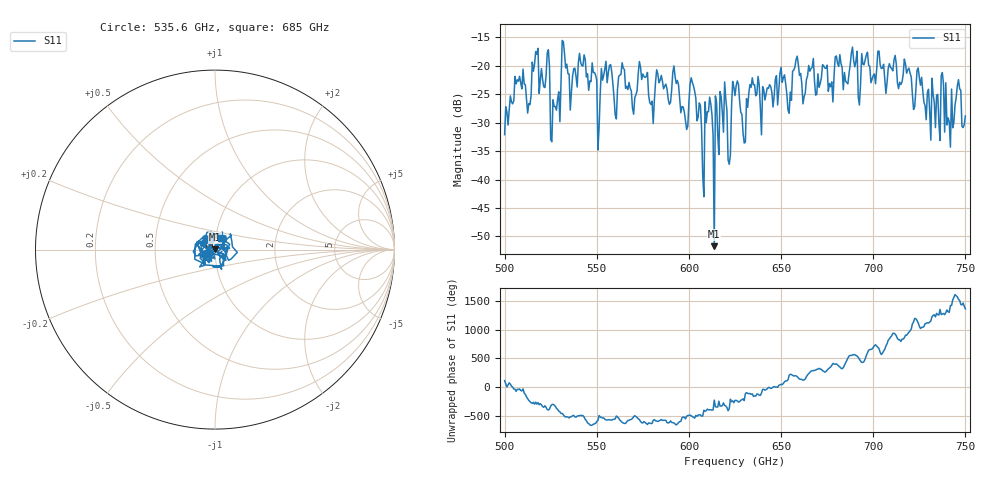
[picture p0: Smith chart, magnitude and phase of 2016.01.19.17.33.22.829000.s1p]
!Created with skrf (http://scikit-rf.org).
# GHz S RI R 50.0
!freq ReS11 ImS11
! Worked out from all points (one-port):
!   401 points, 500 GHz to 750 GHz, reference 50 ohm
!   lowest |S11| = -51.7 dB at 613.8 GHz (marker M1), VSWR 1.01, Z = 49.8 + j0.171 ohm
!   |S11| at or under -10 dB: start of sweep to end of sweep
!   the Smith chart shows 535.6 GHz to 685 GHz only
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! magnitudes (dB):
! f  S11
! 500 GHz  -32.1
! 506.9 GHz  -22.5
! 513.1 GHz  -26.7
! 516.9 GHz  -17.5
! 523.1 GHz  -17.8
! 526.2 GHz  -26.0
! 531.2 GHz  -15.6
! 548.8 GHz  -21.2
! 550.6 GHz  -34.8
! 553.8 GHz  -21.7
! 560 GHz  -28.6
! 562.5 GHz  -21.6
! 570.6 GHz  -25.6
! 574.4 GHz  -22.4
! 580 GHz  -26.2
! 593.8 GHz  -22.6
! 613.8 GHz  -51.7
! 618.1 GHz  -28.2
! 621.9 GHz  -37.3
! 625 GHz  -25.2
! 629.4 GHz  -31.9
! 634.4 GHz  -22.1
! 656.2 GHz  -20.9
! 687.5 GHz  -19.8
! 718.8 GHz  -20.7
! 742.5 GHz  -24.1
! 746.2 GHz  -22.5
! 750 GHz  -28.8
